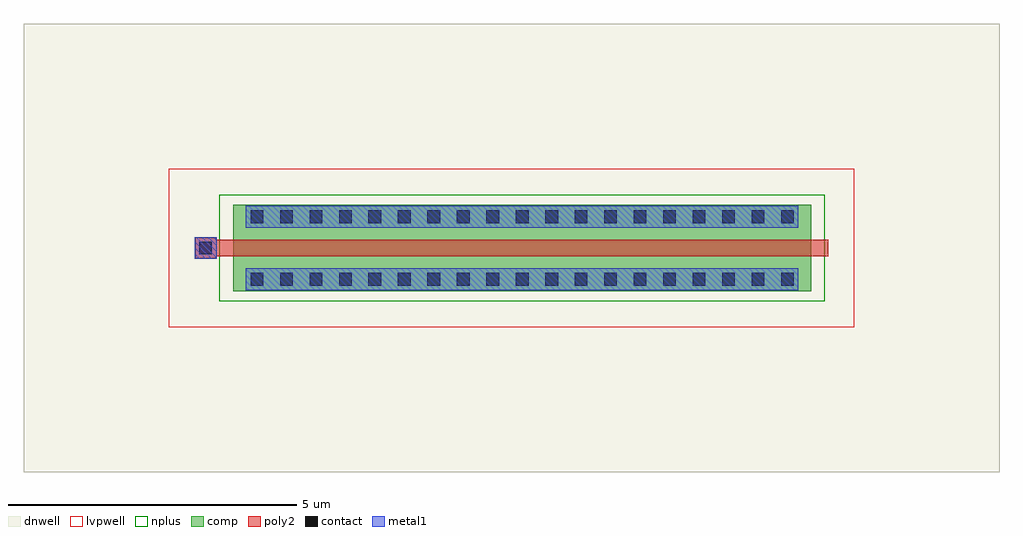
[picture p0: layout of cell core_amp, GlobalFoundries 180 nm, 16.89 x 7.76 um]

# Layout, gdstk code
from math import pi, radians
import gdstk
lib = gdstk.Library(unit=1e-6, precision=5e-09)
def R(c, l, rs):  # rectangles x0, y0, x1, y1
    for r in rs: c.add(gdstk.rectangle(r[:2], r[2:], *l))
def A(c, l, x, y, w, h, nx, ny, dx, dy):  # array of equal rectangles
    R(c, l, [(x+i*dx, y+j*dy, x+i*dx+w, y+j*dy+h) for i in range(nx) for j in range(ny)])
dnwell = (12, 0)
comp = (22, 0)
poly2 = (30, 0)
nplus = (32, 0)
contact = (33, 0)
metal1 = (34, 0)
lvpwell = (204, 0)

nfet = lib.new_cell('nfet')
R(nfet, dnwell, [(-3.55,-3.26,4.21,13.63)])
R(nfet, comp, [(-0.42,0,0,10), (0,0,0.66,10), (0.66,0,1.08,10)])
R(nfet, poly2, [(0.19,-0.3,0.47,10.3), (0.15,10.3,0.51,10.66)])
R(nfet, nplus, [(-0.59,-0.24,1.25,10.24)])
A(nfet, contact, -0.32, 0.3, 0.22, 0.22, 1, 19, 0, 0.51)
A(nfet, contact, 0.76, 0.3, 0.22, 0.22, 1, 19, 0, 0.51)
R(nfet, contact, [(0.22,10.37,0.44,10.59)])
R(nfet, metal1, [(-0.4,0.22,-0.02,9.78), (0.68,0.22,1.06,9.78), (0.14,10.29,0.52,10.67)])
R(nfet, lvpwell, [(-1.04,-0.75,1.7,11.12)])

core_amp = lib.new_cell('core_amp')
r = gdstk.Reference(nfet, (10.965,1.375), rotation=pi/2); r.repetition = gdstk.Repetition(1, 1, v1=(0,0), v2=(0,0)); core_amp.add(r)

lib.write_gds('core_amp.gds')
